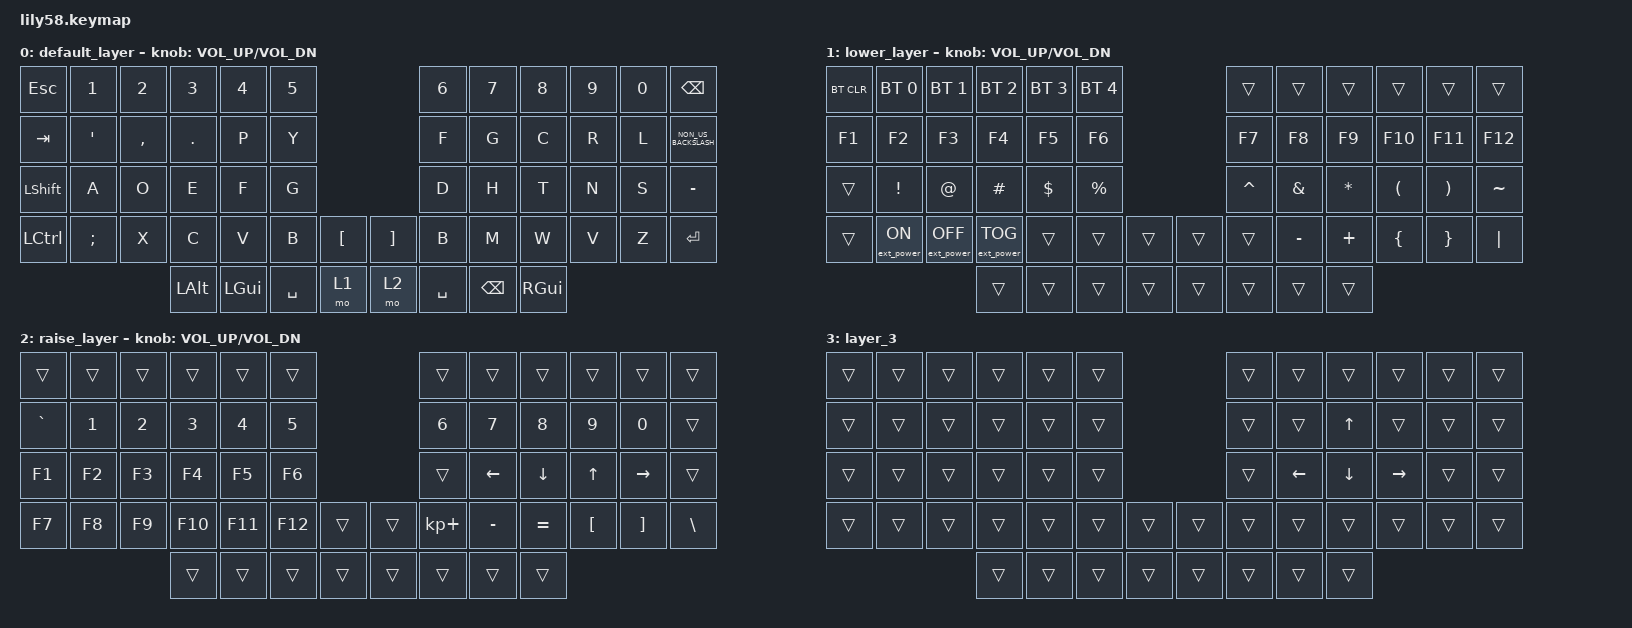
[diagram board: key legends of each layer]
/*
 * Copyright (c) 2020 The ZMK Contributors
 *
 * SPDX-License-Identifier: MIT
 */

#include <behaviors.dtsi>
#include <dt-bindings/zmk/bt.h>
#include <dt-bindings/zmk/ext_power.h>
#include <dt-bindings/zmk/keys.h>

/ {
    keymap {
        compatible = "zmk,keymap";

        default_layer {
            // ------------------------------------------------------------------------------------------------------------
            // |  ESC  |  1  |  2  |  3   |  4   |  5   |                   |  6   |  7    |  8    |  9   |   0   |   `   |
            // |  TAB  |  Q  |  W  |  E   |  R   |  T   |                   |  Y   |  U    |  I    |  O   |   P   |   -   |
            // |  CTRL |  A  |  S  |  D   |  F   |  G   |                   |  H   |  J    |  K    |  L   |   ;   |   '   |
            // | SHIFT |  Z  |  X  |  C   |  V   |  B   |   "["  |  |  "]"  |  N   |  M    |  ,    |  .   |   /   | SHIFT |
            //                     | ALT  | GUI  | LOWER|  SPACE |  | ENTER | RAISE| BSPC  | GUI   |

            bindings = <
&kp ESC         &kp N1            &kp N2     &kp N3      &kp N4    &kp N5                           &kp N6     &kp N7    &kp N8    &kp N9  &kp N0  &kp BACKSPACE
&kp TAB         &kp SINGLE_QUOTE  &kp COMMA  &kp PERIOD  &kp P     &kp Y                            &kp F      &kp G     &kp C     &kp R   &kp L   &kp NON_US_BACKSLASH
&kp LEFT_SHIFT  &kp A             &kp O      &kp E       &kp F     &kp G                            &kp D      &kp H     &kp T     &kp N   &kp S   &kp MINUS
&kp LCTRL       &kp SEMICOLON     &kp X      &kp C       &kp V     &kp B      &kp LBKT    &kp RBKT  &kp B      &kp M     &kp W     &kp V   &kp Z   &kp ENTER
                                             &kp LALT    &kp LGUI  &kp SPACE  &mo 1       &mo 2     &kp SPACE  &kp BSPC  &kp RGUI
            >;

            sensor-bindings = <&inc_dec_kp C_VOL_UP C_VOL_DN>;
        };

        lower_layer {
            // ------------------------------------------------------------------------------------------------------------
            // | BTCLR | BT1 | BT2 |  BT3 |  BT4 |  BT5 |                   |      |       |       |      |       |       |
            // |  F1   |  F2 |  F3 |  F4  |  F5  |  F6  |                   |  F7  |  F8   |  F9   |  F10 |  F11  |  F12  |
            // |   `   |  !  |  @  |  #   |  $   |  %   |                   |  ^   |  &    |  *    |  (   |   )   |   ~   |
            // |       |     |     |      |      |      |        |  |       |      |  _    |  +    |  {   |   }   |  "|"  |
            //                     |      |      |      |        |  |       |      |       |       |

            bindings = <
&bt BT_CLR  &bt BT_SEL 0      &bt BT_SEL 1       &bt BT_SEL 2       &bt BT_SEL 3  &bt BT_SEL 4                    &trans     &trans     &trans     &trans    &trans    &trans
&kp F1      &kp F2            &kp F3             &kp F4             &kp F5        &kp F6                          &kp F7     &kp F8     &kp F9     &kp F10   &kp F11   &kp F12
&trans      &kp EXCL          &kp AT             &kp HASH           &kp DOLLAR    &kp PRCNT                       &kp CARET  &kp AMPS   &kp ASTRK  &kp LPAR  &kp RPAR  &kp TILDE
&trans      &ext_power EP_ON  &ext_power EP_OFF  &ext_power EP_TOG  &trans        &trans        &trans    &trans  &trans     &kp MINUS  &kp PLUS   &kp LBRC  &kp RBRC  &kp PIPE
                                                 &trans             &trans        &trans        &trans    &trans  &trans     &trans     &trans
            >;

            sensor-bindings = <&inc_dec_kp C_VOL_UP C_VOL_DN>;
        };

        raise_layer {
            // ------------------------------------------------------------------------------------------------------------
            // |       |     |     |      |      |      |                   |      |       |       |      |       |       |
            // |   `   |  1  |  2  |  3   |  4   |  5   |                   |  6   |   7   |   8   |  9   |   0   |       |
            // |   F1  |  F2 |  F3 |  F4  |  F5  |  F6  |                   |      |   <-  |   v   |  ^   |  ->   |       |
            // |   F7  |  F8 |  F9 |  F10 |  F11 |  F12 |        |  |       |  +   |   -   |   =   |  [   |   ]   |   \   |
            //                     |      |      |      |        |  |       |      |       |       |

            bindings = <
&trans     &trans  &trans  &trans   &trans   &trans                     &trans       &trans     &trans     &trans    &trans     &trans
&kp GRAVE  &kp N1  &kp N2  &kp N3   &kp N4   &kp N5                     &kp N6       &kp N7     &kp N8     &kp N9    &kp N0     &trans
&kp F1     &kp F2  &kp F3  &kp F4   &kp F5   &kp F6                     &trans       &kp LEFT   &kp DOWN   &kp UP    &kp RIGHT  &trans
&kp F7     &kp F8  &kp F9  &kp F10  &kp F11  &kp F12  &trans    &trans  &kp KP_PLUS  &kp MINUS  &kp EQUAL  &kp LBKT  &kp RBKT   &kp BSLH
                           &trans   &trans   &trans   &trans    &trans  &trans       &trans     &trans
            >;

            sensor-bindings = <&inc_dec_kp C_VOL_UP C_VOL_DN>;
        };

        layer_3 {
            bindings = <
&trans  &trans  &trans  &trans  &trans  &trans                    &trans  &trans    &trans        &trans     &trans  &trans
&trans  &trans  &trans  &trans  &trans  &trans                    &trans  &trans    &kp UP_ARROW  &trans     &trans  &trans
&trans  &trans  &trans  &trans  &trans  &trans                    &trans  &kp LEFT  &kp DOWN      &kp RIGHT  &trans  &trans
&trans  &trans  &trans  &trans  &trans  &trans  &trans    &trans  &trans  &trans    &trans        &trans     &trans  &trans
                        &trans  &trans  &trans  &trans    &trans  &trans  &trans    &trans
            >;
        };
    };
};
